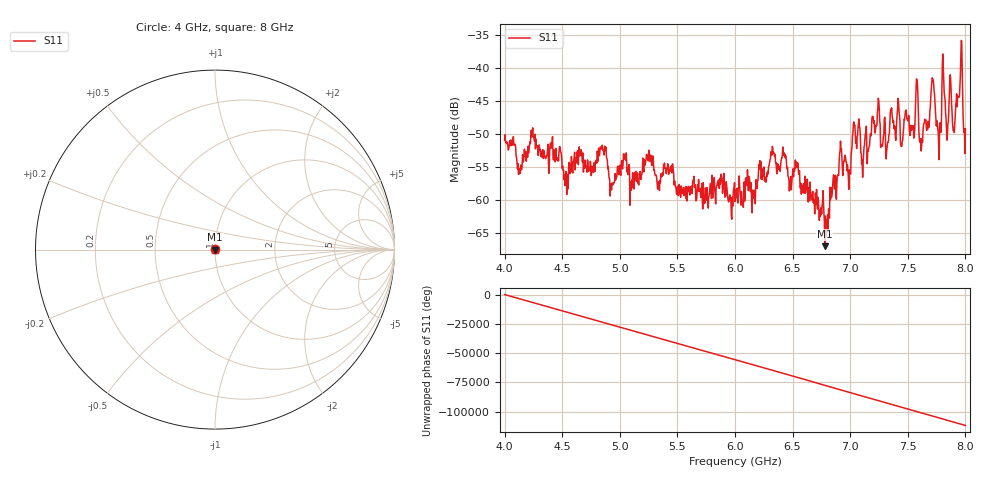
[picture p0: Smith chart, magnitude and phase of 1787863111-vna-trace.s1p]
! Created with skrf 1.10.0 (http://scikit-rf.org).
# Hz S RI R 50.0
!freq ReS11 ImS11
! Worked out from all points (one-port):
!   1001 points, 4 GHz to 8 GHz, reference 50 ohm
!   lowest |S11| = -67.1 dB at 6.78 GHz (marker M1), VSWR 1.00, Z = 50 - j0.0335 ohm
!   |S11| at or under -10 dB: start of sweep to end of sweep
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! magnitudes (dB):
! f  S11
! 4 GHz  -50.9
! 4.132 GHz  -55.3
! 4.244 GHz  -49.1
! 4.5 GHz  -55.3
! 5 GHz  -54.8
! 5.108 GHz  -58.2
! 5.252 GHz  -52.5
! 5.5 GHz  -58.1
! 6 GHz  -60.3
! 6.164 GHz  -59.6
! 6.328 GHz  -52.3
! 6.5 GHz  -56.1
! 6.78 GHz  -67.1
! 6.908 GHz  -53.0
! 7 GHz  -56.0
! 7.04 GHz  -48.7
! 7.108 GHz  -56.6
! 7.24 GHz  -46.1
! 7.324 GHz  -51.5
! 7.5 GHz  -48.0
! 7.58 GHz  -41.9
! 7.616 GHz  -52.6
! 7.716 GHz  -41.7
! 7.772 GHz  -53.9
! 7.812 GHz  -42.0
! 7.9 GHz  -49.2
! 7.952 GHz  -42.9
! 8 GHz  -49.2
